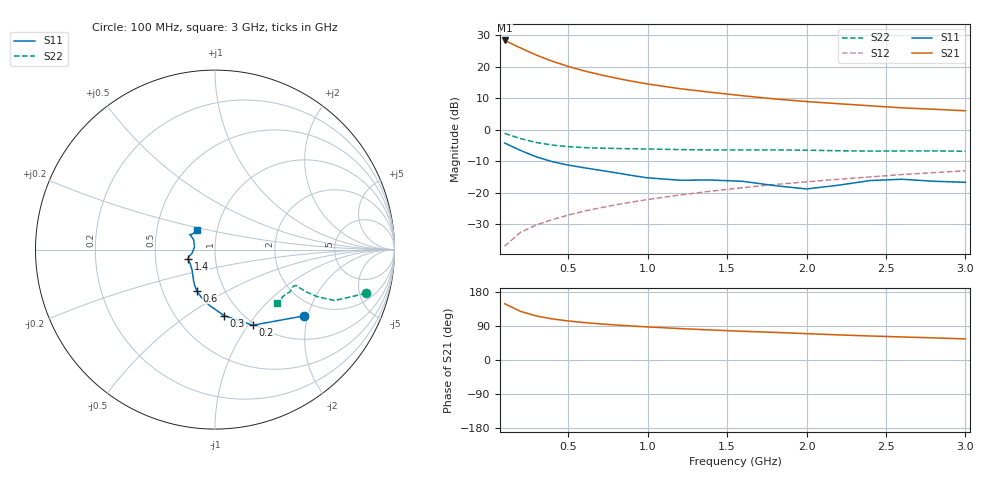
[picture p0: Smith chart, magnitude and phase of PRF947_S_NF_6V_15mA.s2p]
! Filename:  PRF947o.S2P  Version:  3.0
! Philips part #:  PRF947  Date:  Dec 1998
! Bias condition:  Vce=6V, Ic=15mA
#  MHz  S  MA  R 50
! Freq  S11  S21  S12  S22  :
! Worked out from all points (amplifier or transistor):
!   20 points, 100 MHz to 3 GHz, reference 50 ohm
!   highest |S21| = 28.3 dB at 100 MHz (marker M1)
!   |S21| within 3 dB of that: start of sweep to 227.7 MHz
!   unconditionally stable (mu >= 1): 908.3 MHz to end of sweep
!   at 400 MHz: K = 0.81, MSG = 25.1 dB, |S12| = -28.5 dB
!   at 1.2 GHz: K = 1.04, MAG = 15.7 dB, |S12| = -20.7 dB
!   at 3 GHz: K = 1.04, MAG = 8.4 dB, |S12| = -13.0 dB
!   lowest NFmin = 1.77 dB at 500 MHz
!   S11 on the Smith chart (normalised r, x): 100 MHz: 1.58, -1.88; 200 MHz: 0.97, -1.05; 300 MHz: 0.83, -0.71; 600 MHz: 0.74, -0.36; 1.4 GHz: 0.74, -0.08; 3 GHz: 0.80, +0.18
100  0.6164 -36.9  26.15 148.5  0.01423 74.3  0.876 -16.1
200  0.4711 -63.4  19.9 128.3  0.02364 68.4  0.7245 -23.1
300  0.3715 -82.1  15.32 116.2  0.03087 67.8  0.6278 -24.7
400  0.3118 -95.9  12.24 108.4  0.03758 68.9  0.5719 -24.8
500  0.2753 -106.4  10.13 103.0  0.04426 70.4  0.54 -24.6
600  0.2498 -114.1  8.621 98.8  0.05103 71.9  0.5218 -24.4
700  0.2281 -120.1  7.486 95.4  0.05775 73.0  0.5118 -24.2
800  0.2078 -125.3  6.611 92.4  0.06451 74.0  0.5056 -24.0
900  0.1886 -130.9  5.9 89.7  0.07129 74.8  0.5002 -23.9
1000  0.1729 -137.2  5.333 87.3  0.07817 75.4  0.4955 -23.9
1200  0.1586 -150.9  4.496 82.9  0.09212 76.1  0.4852 -24.5
1400  0.1596 -160.1  3.931 79.2  0.1064 76.4  0.4789 -26.2
1600  0.1521 -164.2  3.466 75.7  0.1209 76.7  0.479 -28.1
1800  0.1299 -170.9  3.086 72.9  0.1352 76.6  0.4792 -29.4
2000  0.1152 172.1  2.807 69.6  0.1494 76.5  0.4743 -30.5
2200  0.1318 155.0  2.594 66.3  0.1639 76.3  0.4646 -32.4
2400  0.1565 149.8  2.404 63.4  0.1789 75.9  0.4593 -35.2
2600  0.1641 149.4  2.23 60.8  0.1948 75.5  0.4613 -37.8
2800  0.1526 145.4  2.116 58.4  0.2088 75.3  0.4624 -39.5
3000  0.1466 132.9  2.003 55.6  0.2237 75.1  0.4566 -41.1
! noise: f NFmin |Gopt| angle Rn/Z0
500  1.77  0.22  13  0.37
800  2.04  0.25  24  0.35
900  2.12  0.25  26  0.37
1000  2.22  0.26  28  0.31
1500  2.27  0.23  70  0.2
2000  2.61  0.11  141  0.3
